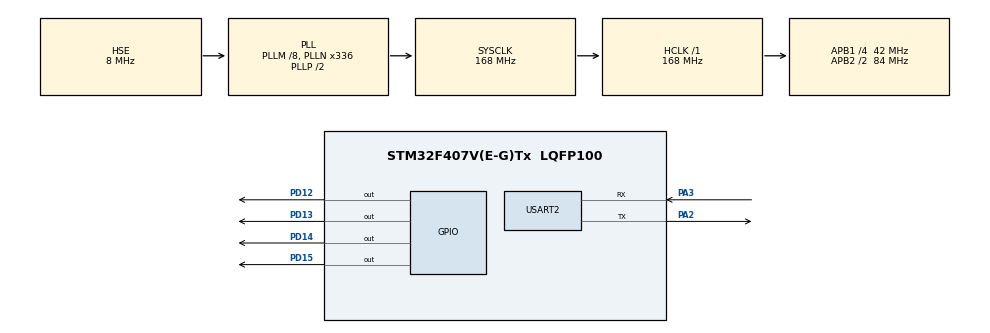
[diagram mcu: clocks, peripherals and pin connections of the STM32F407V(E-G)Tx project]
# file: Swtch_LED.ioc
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Mcu.Family=STM32F4
Mcu.Name=STM32F407V(E-G)Tx
Mcu.Package=LQFP100
NVIC.PriorityGroup=NVIC_PRIORITYGROUP_0
PA2.Mode=Asynchronous
PA2.Signal=USART2_TX
PA3.Mode=Asynchronous
PA3.Signal=USART2_RX
PD12.Signal=GPIO_Output
PD13.Signal=GPIO_Output
PD14.Signal=GPIO_Output
PD15.Signal=GPIO_Output
PH0-OSC_IN.Mode=HSE-External-Oscillator
PH0-OSC_IN.Signal=RCC_OSC_IN
PH1-OSC_OUT.Mode=HSE-External-Oscillator
PH1-OSC_OUT.Signal=RCC_OSC_OUT
ProjectManager.HeapSize=0x200
ProjectManager.StackSize=0x400
ProjectManager.TargetToolchain=STM32CubeIDE
RCC.48MHZClocksFreq_Value=48000000
RCC.AHBFreq_Value=168000000
RCC.APB1CLKDivider=RCC_HCLK_DIV4
RCC.APB1Freq_Value=42000000
RCC.APB1TimFreq_Value=84000000
RCC.APB2CLKDivider=RCC_HCLK_DIV2
RCC.APB2Freq_Value=84000000
RCC.APB2TimFreq_Value=168000000
RCC.CortexFreq_Value=168000000
RCC.HCLKFreq_Value=168000000
RCC.HSE_VALUE=8000000
RCC.HSI_VALUE=16000000
RCC.PLLM=8
RCC.PLLN=336
RCC.PLLQ=7
RCC.PLLSourceVirtual=RCC_PLLSOURCE_HSE
RCC.SYSCLKFreq_VALUE=168000000
RCC.SYSCLKSource=RCC_SYSCLKSOURCE_PLLCLK
RCC.VCOOutputFreq_Value=336000000
USART2.VirtualMode=VM_ASYNC
board=STM32F407G-DISC1

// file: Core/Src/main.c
/* USER CODE BEGIN Header */
/**
  ******************************************************************************
  * @file           : main.c
  * @brief          : Main program body
  ******************************************************************************
  * @attention
  *
  * Copyright (c) 2026 STMicroelectronics.
  * All rights reserved.
  *
  * This software is licensed under terms that can be found in the LICENSE file
  * in the root directory of this software component.
  * If no LICENSE file comes with this software, it is provided AS-IS.
  *
  ******************************************************************************
  */
/* USER CODE END Header */
#include "main.h"
#include<stdio.h>
#include<string.h>

UART_HandleTypeDef huart2;

void SystemClock_Config(void);
static void MX_GPIO_Init(void);
static void MX_USART2_UART_Init(void);

int main(void)
{

  /* MCU Configuration--------------------------------------------------------*/

  /* Reset of all peripherals, Initializes the Flash interface and the Systick. */
  HAL_Init();

  /* Configure the system clock */
  SystemClock_Config();

  /* Initialize all configured peripherals */
  MX_GPIO_Init();
  MX_USART2_UART_Init();

  /* Infinite loop */
  while (1)
  {

    /* USER CODE BEGIN 3 */
	uint8_t ch;

	HAL_UART_Receive(&huart2, &ch, 1, HAL_MAX_DELAY);

	while (1)
	{
	    /* USER CODE BEGIN 3 */
	    uint8_t ch;
	    HAL_UART_Receive(&huart2, &ch, 1, HAL_MAX_DELAY);

	    switch(ch)
	    {
	        case '1':
	            HAL_GPIO_TogglePin(GPIOD, GPIO_PIN_12);
	            HAL_UART_Transmit(&huart2, (uint8_t*)"LED 12 TOGGLED\r\n", 16, HAL_MAX_DELAY);
	            break;

	        case '2':
	            HAL_GPIO_TogglePin(GPIOD, GPIO_PIN_13);
	            HAL_UART_Transmit(&huart2, (uint8_t*)"LED 13 TOGGLED\r\n", 16, HAL_MAX_DELAY);
	            break;

	        case '3':
	            HAL_GPIO_TogglePin(GPIOD, GPIO_PIN_14);
	            HAL_UART_Transmit(&huart2, (uint8_t*)"LED 14 TOGGLED\r\n", 16, HAL_MAX_DELAY);
	            break;

	        case '4':
	            HAL_GPIO_TogglePin(GPIOD, GPIO_PIN_15);
	            HAL_UART_Transmit(&huart2, (uint8_t*)"LED 15 TOGGLED\r\n", 16, HAL_MAX_DELAY);
	            break;

	        default:
	            HAL_UART_Transmit(&huart2, (uint8_t*)"Invalid Key\r\n", 13, HAL_MAX_DELAY);
	            break;
	    }
	    /* USER CODE END 3 */
	}
  }
  /* USER CODE END 3 */
}

void SystemClock_Config(void)
{
  RCC_OscInitTypeDef RCC_OscInitStruct = {0};
  RCC_ClkInitTypeDef RCC_ClkInitStruct = {0};

  /** Configure the main internal regulator output voltage
  */
  __HAL_RCC_PWR_CLK_ENABLE();
  __HAL_PWR_VOLTAGESCALING_CONFIG(PWR_REGULATOR_VOLTAGE_SCALE1);

  /** Initializes the RCC Oscillators according to the specified parameters
  * in the RCC_OscInitTypeDef structure.
  */
  RCC_OscInitStruct.OscillatorType = RCC_OSCILLATORTYPE_HSE;
  RCC_OscInitStruct.HSEState = RCC_HSE_ON;
  RCC_OscInitStruct.PLL.PLLState = RCC_PLL_ON;
  RCC_OscInitStruct.PLL.PLLSource = RCC_PLLSOURCE_HSE;
  RCC_OscInitStruct.PLL.PLLM = 8;
  RCC_OscInitStruct.PLL.PLLN = 336;
  RCC_OscInitStruct.PLL.PLLP = RCC_PLLP_DIV2;
  RCC_OscInitStruct.PLL.PLLQ = 7;
  if (HAL_RCC_OscConfig(&RCC_OscInitStruct) != HAL_OK)
  {
    Error_Handler();
  }

  /** Initializes the CPU, AHB and APB buses clocks
  */
  RCC_ClkInitStruct.ClockType = RCC_CLOCKTYPE_HCLK|RCC_CLOCKTYPE_SYSCLK
                              |RCC_CLOCKTYPE_PCLK1|RCC_CLOCKTYPE_PCLK2;
  RCC_ClkInitStruct.SYSCLKSource = RCC_SYSCLKSOURCE_PLLCLK;
  RCC_ClkInitStruct.AHBCLKDivider = RCC_SYSCLK_DIV1;
  RCC_ClkInitStruct.APB1CLKDivider = RCC_HCLK_DIV4;
  RCC_ClkInitStruct.APB2CLKDivider = RCC_HCLK_DIV2;

  if (HAL_RCC_ClockConfig(&RCC_ClkInitStruct, FLASH_LATENCY_5) != HAL_OK)
  {
    Error_Handler();
  }
}

static void MX_USART2_UART_Init(void)
{

  huart2.Instance = USART2;
  huart2.Init.BaudRate = 115200;
  huart2.Init.WordLength = UART_WORDLENGTH_8B;
  huart2.Init.StopBits = UART_STOPBITS_1;
  huart2.Init.Parity = UART_PARITY_NONE;
  huart2.Init.Mode = UART_MODE_TX_RX;
  huart2.Init.HwFlowCtl = UART_HWCONTROL_NONE;
  huart2.Init.OverSampling = UART_OVERSAMPLING_16;
  if (HAL_UART_Init(&huart2) != HAL_OK)
  {
    Error_Handler();
  }

}

static void MX_GPIO_Init(void)
{
  GPIO_InitTypeDef GPIO_InitStruct = {0};

  /* GPIO Ports Clock Enable */
  __HAL_RCC_GPIOH_CLK_ENABLE();
  __HAL_RCC_GPIOA_CLK_ENABLE();
  __HAL_RCC_GPIOD_CLK_ENABLE();

  /*Configure GPIO pin Output Level */
  HAL_GPIO_WritePin(GPIOD, GPIO_PIN_12|GPIO_PIN_13|GPIO_PIN_14|GPIO_PIN_15, GPIO_PIN_RESET);

  /*Configure GPIO pins : PD12 PD13 PD14 PD15 */
  GPIO_InitStruct.Pin = GPIO_PIN_12|GPIO_PIN_13|GPIO_PIN_14|GPIO_PIN_15;
  GPIO_InitStruct.Mode = GPIO_MODE_OUTPUT_PP;
  GPIO_InitStruct.Pull = GPIO_NOPULL;
  GPIO_InitStruct.Speed = GPIO_SPEED_FREQ_LOW;
  HAL_GPIO_Init(GPIOD, &GPIO_InitStruct);

}

void Error_Handler(void)
{
  __disable_irq();
  while (1)
  {
  }
}
